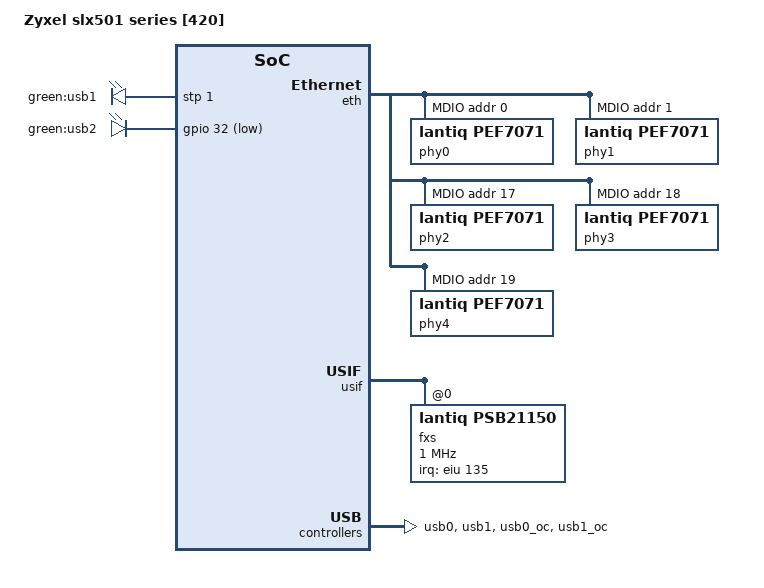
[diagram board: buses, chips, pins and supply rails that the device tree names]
// SPDX-License-Identifier: GPL-2.0
/*
 * Copyright (C) 2014-2019 Sphairon GmbH (a Zyxel company)
 */

/dts-v1/;

#include <dt-bindings/gpio/gpio.h>
#include <dt-bindings/interrupt-controller/irq.h>
#include "xrx200-slx501.dtsi"

/ {
	model = "Zyxel slx501 series [420]";
	compatible = "zyxel,slx501", "lantiq,vr9", "lantiq,xway";

	gpio-leds {
		compatible = "gpio-leds";

		usb1_green {
			label = "green:usb1";
			gpios = <&stp 1 GPIO_ACTIVE_HIGH>;
			default-state = "off";
		};

		usb2_green {
			label = "green:usb2";
			gpios = <&gpio 32 GPIO_ACTIVE_LOW>;
			default-state = "off";
		};
	};
};

&gpio {
	pins_gpio_leds_default: pins_gpio_leds_default {
		gpio_low_active2 {
			lantiq,pins = "io32";
			lantiq,output = <1>;
		};
	};

	pins_usif_spi_default: pins_usif_spi_default {
		cs {
			lantiq,pins = "io39";
			lantiq,output = <1>;
		};
	};
};

&eth {
	pinctrl-names = "default";
	pinctrl-0 = <&pins_eth_default>;

	gphy@0 {
		lantiq,phy-mode = "22f";
		status = "ok";
	};

	gphy@1 {
		lantiq,phy-mode = "11g";
		status = "ok";
	};

	mdio@0 {
		phy0: ethernet-phy@0 {
			compatible = "lantiq,pef7071", "ethernet-phy-ieee802.3-c22";
			/*interrupt-parent = <&eiu>;
			interrupts = <2 IRQ_TYPE_EDGE_FALLING>;*/
			reg = <0x0>;
			lantiq,led0 = <0x7003>;
			lantiq,led1 = <0x0>;
			lantiq,led2 = <0x0>;
		};

		phy1: ethernet-phy@1 {
			compatible = "lantiq,pef7071", "ethernet-phy-ieee802.3-c22";
			/*interrupt-parent = <&eiu>;
			interrupts = <2 IRQ_TYPE_EDGE_FALLING>;*/
			reg = <0x1>;
			lantiq,led0 = <0x7003>;
			lantiq,led1 = <0x0>;
			lantiq,led2 = <0x0>;
		};

		phy2: ethernet-phy@11 {
			compatible = "lantiq,pef7071", "ethernet-phy-ieee802.3-c22";
			/*interrupt-parent = <&icu0>;
			interrupts = <122>;*/
			reg = <0x11>;
			lantiq,led0 = <0x3003>;
			lantiq,led1 = <0x3003>;
			lantiq,led2 = <0x0>;
		};

		phy3: ethernet-phy@12 {
			compatible = "lantiq,pef7071", "ethernet-phy-ieee802.3-c22";
			/*interrupt-parent = <&icu0>;
			interrupts = <122>;*/
			reg = <0x12>;
		};

		phy4: ethernet-phy@13 {
			compatible = "lantiq,pef7071", "ethernet-phy-ieee802.3-c22";
			/*interrupt-parent = <&icu0>;
			interrupts = <121>;*/
			reg = <0x13>;
			lantiq,led0 = <0x7003>;
			lantiq,led1 = <0x0>;
			lantiq,led2 = <0x0>;
		};
	};

	ethernet@0 {
		phy-handle = <&phy0>;
		phy-mode = "rgmii";
		status = "ok";
		lantiq,port-name = "sw-p0-wanoe";
		lantiq,wanoe;
	};

	ethernet@1 {
		phy-handle = <&phy1>;
		phy-mode = "rgmii";
		status = "ok";
		lantiq,port-name = "sw-p1-lan4";
	};

	ethernet@2 {
		phy-handle = <&phy2>;
		phy-mode = "mii";
		status = "ok";
		lantiq,port-name = "sw-p2-lan1";
	};

	ethernet@3 {
		phy-handle = <&phy3>;
		phy-mode = "mii";
		status = "ok";
		lantiq,port-name = "sw-p3-lan2";
	};

	ethernet@4 {
		phy-handle = <&phy4>;
		phy-mode = "gmii";
		status = "ok";
		lantiq,port-name = "sw-p4-lan3";
	};

	ethernet@5 {
		phy-mode = "rgmii";
		status = "ok";
		lantiq,port-name = "sw-p5-wifi";
		lantiq,rgmii-tx-delay = <3>;
		lantiq,mii-isolate;
		fixed-link {
			speed = <1000>;
			full-duplex;
		};
	};
};

&usif {
	status = "ok";

	cs-gpios = <&gpio 39 GPIO_ACTIVE_HIGH>;

	fxs: psb21150@0 {
		compatible = "lantiq,psb21150";
		reg = <0>;
		spi-max-frequency = <1000000>;
		spi-cpol;
		spi-cpha;
		interrupt-parent = <&eiu>;
		interrupts = <135 IRQ_TYPE_LEVEL_LOW>;
		lantiq,mode-lts;
		lantiq,iom2-channel = <0>;
		lantiq,dps;
	};
};

&usb0 {
	status = "ok";
};

&usb1 {
	status = "ok";
};

&usb0_oc {
	status = "ok";
};

&usb1_oc {
	status = "ok";
};
